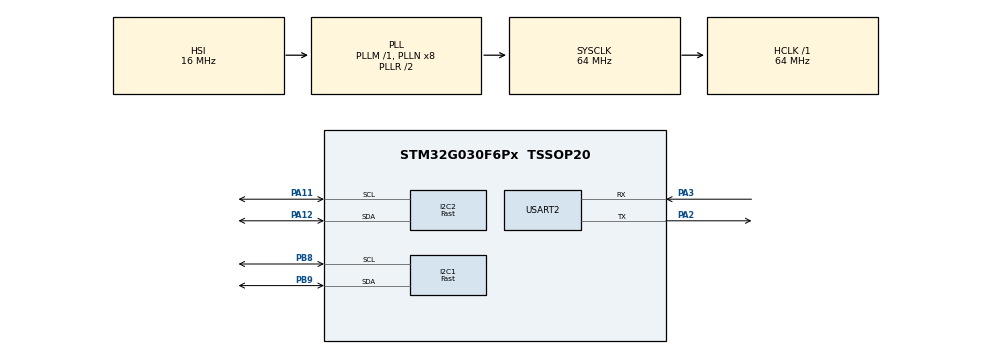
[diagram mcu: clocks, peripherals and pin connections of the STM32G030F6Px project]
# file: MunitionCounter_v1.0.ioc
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I2C1.I2C_Speed_Mode=I2C_Fast
I2C1.Timing=0x00602173
I2C2.I2C_Speed_Mode=I2C_Fast
I2C2.Timing=0x00602173
IWDG.Prescaler=IWDG_PRESCALER_64
IWDG.Reload=1000
IWDG.Window=1000
Mcu.Family=STM32G0
Mcu.Name=STM32G030F6Px
Mcu.Package=TSSOP20
NVIC.USART2_IRQn=true\:2\:0\:true\:false\:false\:true\:true\:true
PA11\ [PA9].Mode=I2C
PA11\ [PA9].Signal=I2C2_SCL
PA12\ [PA10].Mode=I2C
PA12\ [PA10].Signal=I2C2_SDA
PA13.Mode=Serial_Wire
PA13.Signal=SYS_SWDIO
PA14-BOOT0.Mode=Serial_Wire
PA14-BOOT0.Signal=SYS_SWCLK
PA14-BOOT0__PA15.StandardMode=true
PA2.Mode=Asynchronous
PA2.Signal=USART2_TX
PA3.GPIO_PuPd=GPIO_PULLUP
PA3.Mode=Asynchronous
PA3.Signal=USART2_RX
PB0__PB1__PB2__PA8.StandardMode=true
PB3__PB4__PB5__PB6.StandardMode=true
PB7__PB8.StandardMode=true
PB8.Mode=I2C
PB8.Signal=I2C1_SCL
PB9.Mode=I2C
PB9.Signal=I2C1_SDA
PC14-OSC32_IN\ (PC14)__PB9.StandardMode=true
ProjectManager.HeapSize=0x200
ProjectManager.StackSize=0x400
ProjectManager.TargetToolchain=STM32CubeIDE
RCC.ADCFreq_Value=64000000
RCC.AHBFreq_Value=64000000
RCC.CortexFreq_Value=64000000
RCC.EXTERNAL_CLOCK_VALUE=12288000
RCC.HCLKFreq_Value=64000000
RCC.HSE_VALUE=8000000
RCC.HSI_VALUE=16000000
RCC.LSE_VALUE=32768
RCC.SYSCLKFreq_VALUE=64000000
RCC.SYSCLKSource=RCC_SYSCLKSOURCE_PLLCLK
RCC.VCOOutputFreq_Value=128000000
USART2.VirtualMode-Asynchronous=VM_ASYNC
VP_IWDG_VS_IWDG.Mode=IWDG_Activate
board=custom

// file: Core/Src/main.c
/* USER CODE BEGIN Header */
/**
 ******************************************************************************
 * @file           : main.c
 * @brief          : Main program body
 ******************************************************************************
 * @attention
 *
 * Copyright (c) 2022 STMicroelectronics.
 * All rights reserved.
 *
 * This software is licensed under terms that can be found in the LICENSE file
 * in the root directory of this software component.
 * If no LICENSE file comes with this software, it is provided AS-IS.
 *
 ******************************************************************************
 */
/* USER CODE END Header */
#include "main.h"
#include "i2c.h"
#include "iwdg.h"
#include "usart.h"
#include "gpio.h"

/* USER CODE BEGIN Includes */
#include <stdio.h>

#include "usart.h"
#include "VL6180X.h"
/* USER CODE END Includes */

/* USER CODE BEGIN PTD */
typedef enum
{
	RESET_CAUSE_UNKNOWN = 0,
	RESET_CAUSE_LOW_POWER_RESET,
	RESET_CAUSE_WINDOW_WATCHDOG_RESET,
	RESET_CAUSE_INDEPENDENT_WATCHDOG_RESET,
	RESET_CAUSE_SOFTWARE_RESET,
	RESET_CAUSE_EXTERNAL_RESET_PIN_RESET,
//	RESET_CAUSE_POWER_ON_POWER_DOWN_RESET,
//	RESET_CAUSE_BROWNOUT_RESET,
} reset_cause_e;

typedef struct
{
	uint8_t sensor_active :2;
	uint8_t s1_val :1;
	uint8_t s2_val :1;
	uint8_t s1_prev :1;
	uint8_t s2_prev :1;
	uint8_t reserved :2; /* Reserved. */
} __attribute__ ((packed)) Sensor_Change_t;

typedef struct
{
	Sensor_Change_t change;
	uint32_t s1_counter;
	uint32_t s2_counter;
	uint32_t counter;
} Sensor_t;

#define INTER_MEASUREMENT_PERIOD	20
/* USER CODE END PTD */

/* USER CODE BEGIN PD */
#define DEBUG_ENABLE			1
#if DEBUG_ENABLE==1
#define LOG(str, ...) printf("[%05ld] " str, HAL_GetTick()%100000,  ##__VA_ARGS__)
#define LOG_E(str, ...) printf("[%s Err:%d] " str,  __FILE_NAME__,__LINE__, ##__VA_ARGS__)
#else
#define LOG(str, ...)
#define LOG_E(str, ...)
#endif	//if DEBUG_ENABLE==1

#if defined(__IWDG_H__)
#define reset_wdt()		HAL_IWDG_Refresh(&hiwdg)
#else
#define reset_wdt()
#endif	//if defined(__IWDG_H__)

#define SENSOR_MIN_DISTANCE		1
#define SENSOR_MAX_DISTANCE		30
//#define SENSOR_MAX_DISTANCE		50

/* USER CODE END PD */

/* USER CODE BEGIN PV */
static reset_cause_e g_reset_cause;
VL6180X_t tof1;
VL6180X_t tof2;
Sensor_t sensor;
/* USER CODE END PV */

void SystemClock_Config(void);
/* USER CODE BEGIN PFP */
static uint8_t sensor_read(VL6180X_t *sensor, uint8_t *status, uint8_t *range);
static void sensor_update();
/* USER CODE END PFP */

/* USER CODE BEGIN 0 */
static void reset_source_init()
{
	g_reset_cause = RESET_CAUSE_UNKNOWN;

	if (__HAL_RCC_GET_FLAG(RCC_FLAG_LPWRRST))
		g_reset_cause = RESET_CAUSE_LOW_POWER_RESET;
	else if (__HAL_RCC_GET_FLAG(RCC_FLAG_WWDGRST))
		g_reset_cause = RESET_CAUSE_WINDOW_WATCHDOG_RESET;
	else if (__HAL_RCC_GET_FLAG(RCC_FLAG_IWDGRST))
		g_reset_cause = RESET_CAUSE_INDEPENDENT_WATCHDOG_RESET;
	else if (__HAL_RCC_GET_FLAG(RCC_FLAG_SFTRST))
		/* This reset is induced by calling the ARM CMSIS */
		/* `NVIC_SystemReset()` function! */
		g_reset_cause = RESET_CAUSE_SOFTWARE_RESET;
	else if (__HAL_RCC_GET_FLAG(RCC_FLAG_PINRST))
		g_reset_cause = RESET_CAUSE_EXTERNAL_RESET_PIN_RESET;

	__HAL_RCC_CLEAR_RESET_FLAGS();
}

/* USER CODE END 0 */

int main(void)
{
	/* USER CODE BEGIN 1 */
	reset_source_init();
	/* USER CODE END 1 */

	/* MCU Configuration--------------------------------------------------------*/

	/* Reset of all peripherals, Initializes the Flash interface and the Systick. */
	HAL_Init();

	/* Configure the system clock */
	SystemClock_Config();

	/* Initialize all configured peripherals */
	MX_GPIO_Init();
	MX_USART2_UART_Init();
	MX_I2C1_Init();
	MX_I2C2_Init();
	MX_IWDG_Init();
	/* USER CODE BEGIN 2 */
	debug_uart_init();
	retarget_init(&debug);

	LOG("Munition Counter (VL6180X) firmware!\r\n");

	HAL_Delay(100);
	reset_wdt();
	*(uint8_t*) &sensor.change = 0;
	sensor.counter = 0;
	sensor.s1_counter = sensor.s2_counter = 0;

	int8_t sensor_init;
	LOG("init module 1 ...");
	sensor_init = VL6180X_begin(&tof1, &hi2c1);
	if (sensor_init == -1)
		while (1)
			;
	else if (sensor_init == 1) {
		LOG("fresh restart\r\n");
		VL6180X_set_default_configuration(&tof1);

		VL6180X_range_config_interrupt(&tof1, VL6180X_NEW_SAMPLE_READY);
		VL6180X_range_set_inter_measurement_period(&tof1, INTER_MEASUREMENT_PERIOD);
		VL6180X_range_start_continous_mode(&tof1);
	}
	else if (sensor_init == 0)
		VL6180X_set_fresh_reset(&tof1, 1);

#if DEBUG_ENABLE==1
	printf("done!\r\n");
#endif	//if DEBUG_ENABLE==1

	HAL_Delay(100);
	reset_wdt();

	LOG("init module 2 ...");
	sensor_init = VL6180X_begin(&tof2, &hi2c2);
	if (sensor_init == -1)
		while (1)
			;
	else if (sensor_init == 1) {
		LOG("fresh restart\r\n");
		VL6180X_set_default_configuration(&tof2);

		VL6180X_range_config_interrupt(&tof2, VL6180X_NEW_SAMPLE_READY);
		VL6180X_range_set_inter_measurement_period(&tof2, INTER_MEASUREMENT_PERIOD);
		VL6180X_range_start_continous_mode(&tof2);
	}
	else if (sensor_init == 0)
		VL6180X_set_fresh_reset(&tof2, 1);

#if DEBUG_ENABLE==1
	printf("done!\r\n");
#endif	//if DEBUG_ENABLE==1

	HAL_Delay(100);
	reset_wdt();

	/* USER CODE END 2 */

	/* Infinite loop */
	/* USER CODE BEGIN WHILE */
	uint8_t debug_adv = 1;

	uint8_t start_to_shutdown = 0;
	uint32_t display_timer = 0;
	while (1) {
		uint8_t status = VL6180X_MAX_S_N_ERR, range = 0;
		/* USER CODE END WHILE */

		/* USER CODE BEGIN 3 */
		reset_wdt();

		if (start_to_shutdown == 0) {
			status = VL6180X_MAX_S_N_ERR, range = 0;
			if (sensor_read(&tof1, &status, &range) == 1) {
				if (debug_adv == 1)
					LOG("1,%d,%d\r\n", status, range);
				if (status == VL6180X_NO_ERR) {
					sensor.change.sensor_active = 1;
					if (range >= SENSOR_MIN_DISTANCE && range <= SENSOR_MAX_DISTANCE)
						sensor.change.s1_val = 1;
					else
						sensor.change.s1_val = 0;

					sensor_update();
				}
			}

			status = VL6180X_MAX_S_N_ERR, range = 0;
			if (sensor_read(&tof2, &status, &range) == 1) {
				if (debug_adv == 1)
					LOG("2,%d,%d\r\n", status, range);
				if (status == VL6180X_NO_ERR) {
					sensor.change.sensor_active = 2;
					if (range >= SENSOR_MIN_DISTANCE && range <= SENSOR_MAX_DISTANCE)
						sensor.change.s2_val = 1;
					else
						sensor.change.s2_val = 0;

					sensor_update();
				}
			}
		}

		if (debug_adv == 0) {
			if (HAL_GetTick() >= display_timer) {
				display_timer = HAL_GetTick() + 100;

				LOG("mc=%ld,%ld,%ld\r\n", sensor.counter, sensor.s1_counter, sensor.s2_counter);
			}
		}

		if (serial_available(&debug) > 0) {
			char c = serial_read(&debug);

			if (c == 'R')
				NVIC_SystemReset();
			else if (c == '0')
				sensor.counter = sensor.s1_counter = sensor.s2_counter = 0;
			else if (c == 's') {
				start_to_shutdown = 1;
				VL6180X_set_fresh_reset(&tof1, 1);
				VL6180X_set_fresh_reset(&tof2, 1);
			}
			else if (c == 'd') {
				if (debug_adv == 0)
					debug_adv = 1;
				else
					debug_adv = 0;
			}
		}

	}
	/* USER CODE END 3 */
}

void SystemClock_Config(void)
{
	RCC_OscInitTypeDef RCC_OscInitStruct = { 0 };
	RCC_ClkInitTypeDef RCC_ClkInitStruct = { 0 };

	/** Configure the main internal regulator output voltage
	 */
	HAL_PWREx_ControlVoltageScaling(PWR_REGULATOR_VOLTAGE_SCALE1);

	/** Initializes the RCC Oscillators according to the specified parameters
	 * in the RCC_OscInitTypeDef structure.
	 */
	RCC_OscInitStruct.OscillatorType = RCC_OSCILLATORTYPE_HSI | RCC_OSCILLATORTYPE_LSI;
	RCC_OscInitStruct.HSIState = RCC_HSI_ON;
	RCC_OscInitStruct.HSIDiv = RCC_HSI_DIV1;
	RCC_OscInitStruct.HSICalibrationValue = RCC_HSICALIBRATION_DEFAULT;
	RCC_OscInitStruct.LSIState = RCC_LSI_ON;
	RCC_OscInitStruct.PLL.PLLState = RCC_PLL_ON;
	RCC_OscInitStruct.PLL.PLLSource = RCC_PLLSOURCE_HSI;
	RCC_OscInitStruct.PLL.PLLM = RCC_PLLM_DIV1;
	RCC_OscInitStruct.PLL.PLLN = 8;
	RCC_OscInitStruct.PLL.PLLP = RCC_PLLP_DIV2;
	RCC_OscInitStruct.PLL.PLLR = RCC_PLLR_DIV2;
	if (HAL_RCC_OscConfig(&RCC_OscInitStruct) != HAL_OK) {
		Error_Handler();
	}

	/** Initializes the CPU, AHB and APB buses clocks
	 */
	RCC_ClkInitStruct.ClockType = RCC_CLOCKTYPE_HCLK | RCC_CLOCKTYPE_SYSCLK | RCC_CLOCKTYPE_PCLK1;
	RCC_ClkInitStruct.SYSCLKSource = RCC_SYSCLKSOURCE_PLLCLK;
	RCC_ClkInitStruct.AHBCLKDivider = RCC_SYSCLK_DIV1;
	RCC_ClkInitStruct.APB1CLKDivider = RCC_HCLK_DIV1;

	if (HAL_RCC_ClockConfig(&RCC_ClkInitStruct, FLASH_LATENCY_2) != HAL_OK) {
		Error_Handler();
	}
}

/* USER CODE BEGIN 4 */
static uint8_t sensor_read(VL6180X_t *sensor, uint8_t *status, uint8_t *range)
{
	if (VL6180X_range_get_interrupt_status(sensor) == VL6180X_NEW_SAMPLE_READY) {

		/*Get the measured distance data*/
		*range = VL6180X_range_get_measurement(sensor);
		/*Get the judged result of the range value*/
		*status = VL6180X_get_range_result(sensor);
		/*Clear interrupts generated by measuring range*/
		VL6180X_clear_range_interrupt(sensor);

//		printf("%ld,%d,%d\r\n", HAL_GetTick(), status, range);

		return 1;
	}
	return 0;
}

static void sensor_update()
{
	if (sensor.change.sensor_active != 0) {
		if (sensor.change.sensor_active == 1) {
			if (sensor.change.s1_val != sensor.change.s1_prev) {

				if (sensor.change.s2_prev == 1) {
					if (sensor.change.s1_val == 1)
						sensor.counter++;
//					else
//						sensor.counter--;
				}

				if (sensor.change.s1_val == 0)
					sensor.s1_counter++;

				sensor.change.s1_prev = sensor.change.s1_val;
			}
		}
		else if (sensor.change.sensor_active == 2) {
			if (sensor.change.s2_val != sensor.change.s2_prev) {

				if (sensor.change.s1_prev == 1)
					if (sensor.change.s2_val == 1 && sensor.counter > 0)
						sensor.counter--;

				if (sensor.change.s2_val == 0)
					sensor.s2_counter++;

				sensor.change.s2_prev = sensor.change.s2_val;
			}
		}

		sensor.change.sensor_active = 0;
	}
}
/* USER CODE END 4 */

void Error_Handler(void)
{
	__disable_irq();
	while (1) {
	}
}
